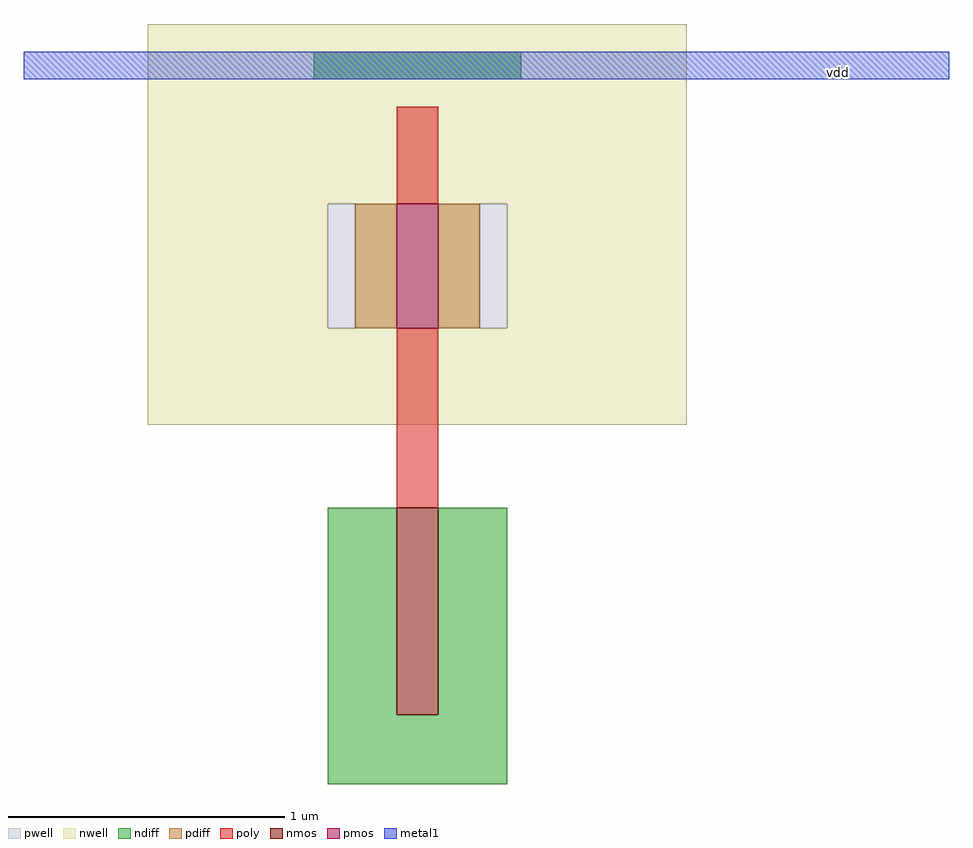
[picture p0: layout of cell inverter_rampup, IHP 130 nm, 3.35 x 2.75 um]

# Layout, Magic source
magic
tech ihp-sg13g2
<< nwell >>
rect -80 45 115 110
rect -80 0 -15 45
rect -5 0 40 45
rect 50 0 115 45
rect -80 -35 115 0
<< pwell >>
rect -15 0 -5 45
rect 40 0 50 45
<< nmos >>
rect 10 -140 25 -65
<< pmos >>
rect 10 0 25 45
<< ndiff >>
rect -20 90 55 100
rect -15 -140 10 -65
rect 25 -140 50 -65
rect -15 -165 50 -140
<< pdiff >>
rect -5 0 10 45
rect 25 0 40 45
<< poly >>
rect 10 45 25 80
rect 10 -65 25 0
<< metal1 >>
rect -125 90 210 100
<< labels >>
rlabel metal1 160 90 180 95 1 vdd
<< end >>
